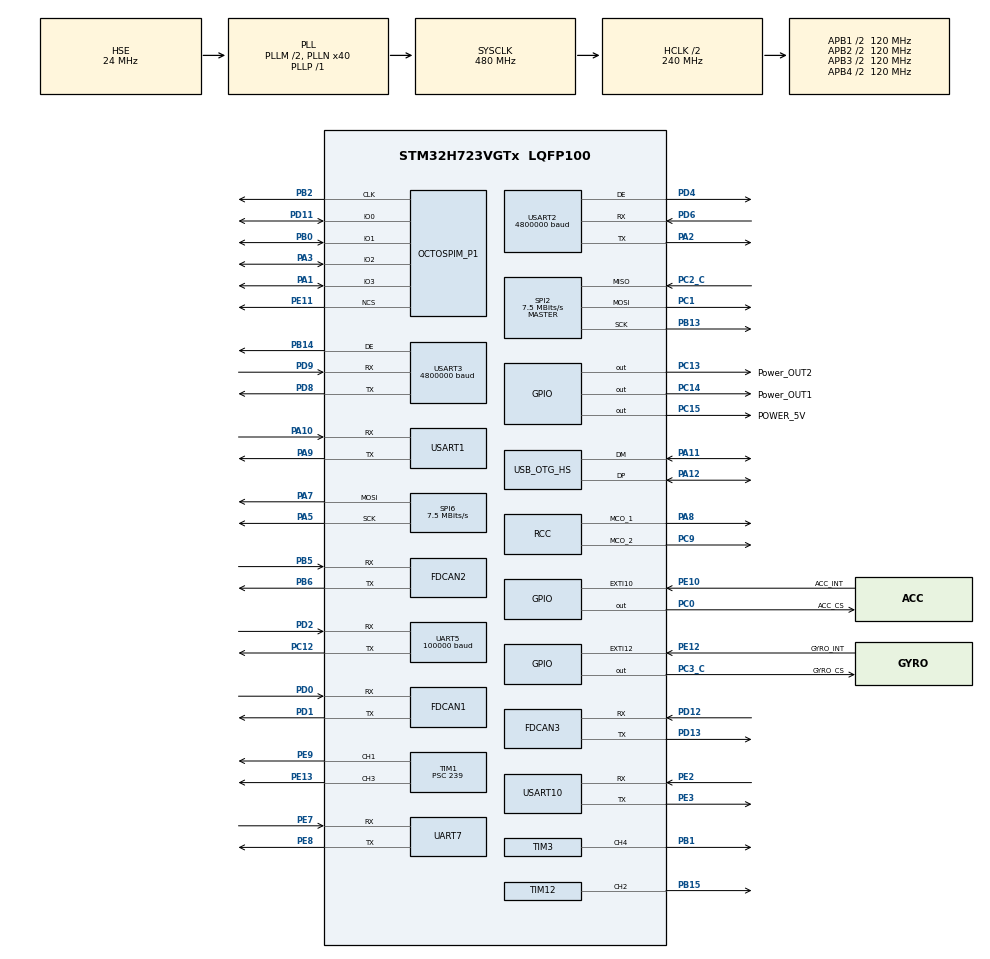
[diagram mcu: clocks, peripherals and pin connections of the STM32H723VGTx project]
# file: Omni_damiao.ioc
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CORTEX_M7.AccessPermission-Cortex_Memory_Protection_Unit_Region0_Settings=MPU_REGION_PRIV_RO
CORTEX_M7.AccessPermission-Cortex_Memory_Protection_Unit_Region1_Settings=MPU_REGION_FULL_ACCESS
CORTEX_M7.BaseAddress-Cortex_Memory_Protection_Unit_Region0_Settings=0x08000000
CORTEX_M7.BaseAddress-Cortex_Memory_Protection_Unit_Region1_Settings=0x20000000
CORTEX_M7.Enable-Cortex_Memory_Protection_Unit_Region0_Settings=MPU_REGION_ENABLE
CORTEX_M7.Enable-Cortex_Memory_Protection_Unit_Region1_Settings=MPU_REGION_ENABLE
CORTEX_M7.IsCacheable-Cortex_Memory_Protection_Unit_Region0_Settings=MPU_ACCESS_CACHEABLE
CORTEX_M7.MPU_Control=MPU_PRIVILEGED_DEFAULT
CORTEX_M7.Number-Cortex_Memory_Protection_Unit_Region1_Settings=MPU_REGION_NUMBER1
CORTEX_M7.Number-Cortex_Memory_Protection_Unit_Region2_Settings=MPU_REGION_NUMBER2
CORTEX_M7.Number-Cortex_Memory_Protection_Unit_Region3_Settings=MPU_REGION_NUMBER3
CORTEX_M7.Number-Cortex_Memory_Protection_Unit_Region4_Settings=MPU_REGION_NUMBER4
CORTEX_M7.Size-Cortex_Memory_Protection_Unit_Region0_Settings=MPU_REGION_SIZE_1MB
CORTEX_M7.Size-Cortex_Memory_Protection_Unit_Region1_Settings=MPU_REGION_SIZE_128MB
CORTEX_M7.SubRegionDisable-Cortex_Memory_Protection_Unit_Region1_Settings=0xEE
CORTEX_M7.TypeExtField-Cortex_Memory_Protection_Unit_Region0_Settings=MPU_TEX_LEVEL1
CORTEX_M7.TypeExtField-Cortex_Memory_Protection_Unit_Region1_Settings=MPU_TEX_LEVEL1
Dma.Request0=SPI2_RX
Dma.Request1=SPI2_TX
Dma.Request10=USART2_TX
Dma.Request11=USART1_RX
Dma.Request12=USART1_TX
Dma.Request2=UART5_RX
Dma.Request3=UART7_RX
Dma.Request4=UART7_TX
Dma.Request5=USART10_RX
Dma.Request6=USART10_TX
Dma.Request7=USART3_RX
Dma.Request8=USART3_TX
Dma.Request9=USART2_RX
Dma.SPI2_RX.0.Direction=DMA_PERIPH_TO_MEMORY
Dma.SPI2_RX.0.EventEnable=DISABLE
Dma.SPI2_RX.0.FIFOMode=DMA_FIFOMODE_DISABLE
Dma.SPI2_RX.0.Instance=DMA1_Stream0
Dma.SPI2_RX.0.MemDataAlignment=DMA_MDATAALIGN_BYTE
Dma.SPI2_RX.0.MemInc=DMA_MINC_ENABLE
Dma.SPI2_RX.0.Mode=DMA_NORMAL
Dma.SPI2_RX.0.PeriphDataAlignment=DMA_PDATAALIGN_BYTE
Dma.SPI2_RX.0.PeriphInc=DMA_PINC_DISABLE
Dma.SPI2_RX.0.Polarity=HAL_DMAMUX_REQ_GEN_RISING
Dma.SPI2_RX.0.Priority=DMA_PRIORITY_VERY_HIGH
Dma.SPI2_RX.0.RequestNumber=1
Dma.SPI2_RX.0.SignalID=NONE
Dma.SPI2_RX.0.SyncEnable=DISABLE
Dma.SPI2_RX.0.SyncPolarity=HAL_DMAMUX_SYNC_NO_EVENT
Dma.SPI2_RX.0.SyncRequestNumber=1
Dma.SPI2_RX.0.SyncSignalID=NONE
Dma.SPI2_TX.1.Direction=DMA_MEMORY_TO_PERIPH
Dma.SPI2_TX.1.EventEnable=DISABLE
Dma.SPI2_TX.1.FIFOMode=DMA_FIFOMODE_DISABLE
Dma.SPI2_TX.1.Instance=DMA1_Stream1
Dma.SPI2_TX.1.MemDataAlignment=DMA_MDATAALIGN_BYTE
Dma.SPI2_TX.1.MemInc=DMA_MINC_ENABLE
Dma.SPI2_TX.1.Mode=DMA_NORMAL
Dma.SPI2_TX.1.PeriphDataAlignment=DMA_PDATAALIGN_BYTE
Dma.SPI2_TX.1.PeriphInc=DMA_PINC_DISABLE
Dma.SPI2_TX.1.Polarity=HAL_DMAMUX_REQ_GEN_RISING
Dma.SPI2_TX.1.Priority=DMA_PRIORITY_VERY_HIGH
Dma.SPI2_TX.1.RequestNumber=1
Dma.SPI2_TX.1.SignalID=NONE
Dma.SPI2_TX.1.SyncEnable=DISABLE
Dma.SPI2_TX.1.SyncPolarity=HAL_DMAMUX_SYNC_NO_EVENT
Dma.SPI2_TX.1.SyncRequestNumber=1
Dma.SPI2_TX.1.SyncSignalID=NONE
Dma.UART5_RX.2.Direction=DMA_PERIPH_TO_MEMORY
Dma.UART5_RX.2.EventEnable=DISABLE
Dma.UART5_RX.2.FIFOMode=DMA_FIFOMODE_DISABLE
Dma.UART5_RX.2.Instance=DMA1_Stream2
Dma.UART5_RX.2.MemDataAlignment=DMA_MDATAALIGN_BYTE
Dma.UART5_RX.2.MemInc=DMA_MINC_ENABLE
Dma.UART5_RX.2.Mode=DMA_NORMAL
Dma.UART5_RX.2.PeriphDataAlignment=DMA_PDATAALIGN_BYTE
Dma.UART5_RX.2.PeriphInc=DMA_PINC_DISABLE
Dma.UART5_RX.2.Polarity=HAL_DMAMUX_REQ_GEN_RISING
Dma.UART5_RX.2.Priority=DMA_PRIORITY_VERY_HIGH
Dma.UART5_RX.2.RequestNumber=1
Dma.UART5_RX.2.SignalID=NONE
Dma.UART5_RX.2.SyncEnable=DISABLE
Dma.UART5_RX.2.SyncPolarity=HAL_DMAMUX_SYNC_NO_EVENT
Dma.UART5_RX.2.SyncRequestNumber=1
Dma.UART5_RX.2.SyncSignalID=NONE
Dma.UART7_RX.3.Direction=DMA_PERIPH_TO_MEMORY
Dma.UART7_RX.3.EventEnable=DISABLE
Dma.UART7_RX.3.FIFOMode=DMA_FIFOMODE_DISABLE
Dma.UART7_RX.3.Instance=DMA1_Stream3
Dma.UART7_RX.3.MemDataAlignment=DMA_MDATAALIGN_BYTE
Dma.UART7_RX.3.MemInc=DMA_MINC_ENABLE
Dma.UART7_RX.3.Mode=DMA_NORMAL
Dma.UART7_RX.3.PeriphDataAlignment=DMA_PDATAALIGN_BYTE
Dma.UART7_RX.3.PeriphInc=DMA_PINC_DISABLE
Dma.UART7_RX.3.Polarity=HAL_DMAMUX_REQ_GEN_RISING
Dma.UART7_RX.3.Priority=DMA_PRIORITY_VERY_HIGH
Dma.UART7_RX.3.RequestNumber=1
Dma.UART7_RX.3.SignalID=NONE
Dma.UART7_RX.3.SyncEnable=DISABLE
Dma.UART7_RX.3.SyncPolarity=HAL_DMAMUX_SYNC_NO_EVENT
Dma.UART7_RX.3.SyncRequestNumber=1
Dma.UART7_RX.3.SyncSignalID=NONE
Dma.UART7_TX.4.Direction=DMA_MEMORY_TO_PERIPH
Dma.UART7_TX.4.EventEnable=DISABLE
Dma.UART7_TX.4.FIFOMode=DMA_FIFOMODE_DISABLE
Dma.UART7_TX.4.Instance=DMA1_Stream4
Dma.UART7_TX.4.MemDataAlignment=DMA_MDATAALIGN_BYTE
Dma.UART7_TX.4.MemInc=DMA_MINC_ENABLE
Dma.UART7_TX.4.Mode=DMA_NORMAL
Dma.UART7_TX.4.PeriphDataAlignment=DMA_PDATAALIGN_BYTE
Dma.UART7_TX.4.PeriphInc=DMA_PINC_DISABLE
Dma.UART7_TX.4.Polarity=HAL_DMAMUX_REQ_GEN_RISING
Dma.UART7_TX.4.Priority=DMA_PRIORITY_VERY_HIGH
Dma.UART7_TX.4.RequestNumber=1
Dma.UART7_TX.4.SignalID=NONE
Dma.UART7_TX.4.SyncEnable=DISABLE
Dma.UART7_TX.4.SyncPolarity=HAL_DMAMUX_SYNC_NO_EVENT
Dma.UART7_TX.4.SyncRequestNumber=1
Dma.UART7_TX.4.SyncSignalID=NONE
Dma.USART10_RX.5.Direction=DMA_PERIPH_TO_MEMORY
Dma.USART10_RX.5.EventEnable=DISABLE
Dma.USART10_RX.5.FIFOMode=DMA_FIFOMODE_DISABLE
Dma.USART10_RX.5.Instance=DMA1_Stream5
Dma.USART10_RX.5.MemDataAlignment=DMA_MDATAALIGN_BYTE
Dma.USART10_RX.5.MemInc=DMA_MINC_ENABLE
Dma.USART10_RX.5.Mode=DMA_NORMAL
Dma.USART10_RX.5.PeriphDataAlignment=DMA_PDATAALIGN_BYTE
Dma.USART10_RX.5.PeriphInc=DMA_PINC_DISABLE
Dma.USART10_RX.5.Polarity=HAL_DMAMUX_REQ_GEN_RISING
Dma.USART10_RX.5.Priority=DMA_PRIORITY_VERY_HIGH
Dma.USART10_RX.5.RequestNumber=1
Dma.USART10_RX.5.SignalID=NONE
Dma.USART10_RX.5.SyncEnable=DISABLE
Dma.USART10_RX.5.SyncPolarity=HAL_DMAMUX_SYNC_NO_EVENT
Dma.USART10_RX.5.SyncRequestNumber=1
Dma.USART10_RX.5.SyncSignalID=NONE
Dma.USART10_TX.6.Direction=DMA_MEMORY_TO_PERIPH
Dma.USART10_TX.6.EventEnable=DISABLE
Dma.USART10_TX.6.FIFOMode=DMA_FIFOMODE_DISABLE
Dma.USART10_TX.6.Instance=DMA1_Stream6
Dma.USART10_TX.6.MemDataAlignment=DMA_MDATAALIGN_BYTE
Dma.USART10_TX.6.MemInc=DMA_MINC_ENABLE
Dma.USART10_TX.6.Mode=DMA_NORMAL
Dma.USART10_TX.6.PeriphDataAlignment=DMA_PDATAALIGN_BYTE
Dma.USART10_TX.6.PeriphInc=DMA_PINC_DISABLE
Dma.USART10_TX.6.Polarity=HAL_DMAMUX_REQ_GEN_RISING
Dma.USART10_TX.6.Priority=DMA_PRIORITY_VERY_HIGH
Dma.USART10_TX.6.RequestNumber=1
Dma.USART10_TX.6.SignalID=NONE
Dma.USART10_TX.6.SyncEnable=DISABLE
Dma.USART10_TX.6.SyncPolarity=HAL_DMAMUX_SYNC_NO_EVENT
Dma.USART10_TX.6.SyncRequestNumber=1
Dma.USART10_TX.6.SyncSignalID=NONE
Dma.USART1_RX.11.Direction=DMA_PERIPH_TO_MEMORY
Dma.USART1_RX.11.EventEnable=DISABLE
Dma.USART1_RX.11.FIFOMode=DMA_FIFOMODE_DISABLE
Dma.USART1_RX.11.Instance=DMA2_Stream3
Dma.USART1_RX.11.MemDataAlignment=DMA_MDATAALIGN_BYTE
Dma.USART1_RX.11.MemInc=DMA_MINC_ENABLE
Dma.USART1_RX.11.Mode=DMA_NORMAL
Dma.USART1_RX.11.PeriphDataAlignment=DMA_PDATAALIGN_BYTE
Dma.USART1_RX.11.PeriphInc=DMA_PINC_DISABLE
Dma.USART1_RX.11.Polarity=HAL_DMAMUX_REQ_GEN_RISING
Dma.USART1_RX.11.Priority=DMA_PRIORITY_LOW
Dma.USART1_RX.11.RequestNumber=1
Dma.USART1_RX.11.SignalID=NONE
Dma.USART1_RX.11.SyncEnable=DISABLE
Dma.USART1_RX.11.SyncPolarity=HAL_DMAMUX_SYNC_NO_EVENT
Dma.USART1_RX.11.SyncRequestNumber=1
Dma.USART1_RX.11.SyncSignalID=NONE
Dma.USART1_TX.12.Direction=DMA_MEMORY_TO_PERIPH
Dma.USART1_TX.12.EventEnable=DISABLE
Dma.USART1_TX.12.FIFOMode=DMA_FIFOMODE_DISABLE
Dma.USART1_TX.12.Instance=DMA2_Stream4
Dma.USART1_TX.12.MemDataAlignment=DMA_MDATAALIGN_BYTE
Dma.USART1_TX.12.MemInc=DMA_MINC_ENABLE
Dma.USART1_TX.12.Mode=DMA_NORMAL
Dma.USART1_TX.12.PeriphDataAlignment=DMA_PDATAALIGN_BYTE
Dma.USART1_TX.12.PeriphInc=DMA_PINC_DISABLE
Dma.USART1_TX.12.Polarity=HAL_DMAMUX_REQ_GEN_RISING
Dma.USART1_TX.12.Priority=DMA_PRIORITY_LOW
Dma.USART1_TX.12.RequestNumber=1
Dma.USART1_TX.12.SignalID=NONE
Dma.USART1_TX.12.SyncEnable=DISABLE
Dma.USART1_TX.12.SyncPolarity=HAL_DMAMUX_SYNC_NO_EVENT
Dma.USART1_TX.12.SyncRequestNumber=1
Dma.USART1_TX.12.SyncSignalID=NONE
Dma.USART2_RX.9.Direction=DMA_PERIPH_TO_MEMORY
Dma.USART2_RX.9.EventEnable=DISABLE
Dma.USART2_RX.9.FIFOMode=DMA_FIFOMODE_DISABLE
Dma.USART2_RX.9.Instance=DMA2_Stream1
Dma.USART2_RX.9.MemDataAlignment=DMA_MDATAALIGN_BYTE
Dma.USART2_RX.9.MemInc=DMA_MINC_ENABLE
Dma.USART2_RX.9.Mode=DMA_NORMAL
Dma.USART2_RX.9.PeriphDataAlignment=DMA_PDATAALIGN_BYTE
Dma.USART2_RX.9.PeriphInc=DMA_PINC_DISABLE
Dma.USART2_RX.9.Polarity=HAL_DMAMUX_REQ_GEN_RISING
Dma.USART2_RX.9.Priority=DMA_PRIORITY_VERY_HIGH
Dma.USART2_RX.9.RequestNumber=1
Dma.USART2_RX.9.SignalID=NONE
Dma.USART2_RX.9.SyncEnable=DISABLE
Dma.USART2_RX.9.SyncPolarity=HAL_DMAMUX_SYNC_NO_EVENT
Dma.USART2_RX.9.SyncRequestNumber=1
Dma.USART2_RX.9.SyncSignalID=NONE
Dma.USART2_TX.10.Direction=DMA_MEMORY_TO_PERIPH
Dma.USART2_TX.10.EventEnable=DISABLE
Dma.USART2_TX.10.FIFOMode=DMA_FIFOMODE_DISABLE
Dma.USART2_TX.10.Instance=DMA2_Stream2
Dma.USART2_TX.10.MemDataAlignment=DMA_MDATAALIGN_BYTE
Dma.USART2_TX.10.MemInc=DMA_MINC_ENABLE
Dma.USART2_TX.10.Mode=DMA_NORMAL
Dma.USART2_TX.10.PeriphDataAlignment=DMA_PDATAALIGN_BYTE
Dma.USART2_TX.10.PeriphInc=DMA_PINC_DISABLE
Dma.USART2_TX.10.Polarity=HAL_DMAMUX_REQ_GEN_RISING
Dma.USART2_TX.10.Priority=DMA_PRIORITY_VERY_HIGH
Dma.USART2_TX.10.RequestNumber=1
Dma.USART2_TX.10.SignalID=NONE
Dma.USART2_TX.10.SyncEnable=DISABLE
Dma.USART2_TX.10.SyncPolarity=HAL_DMAMUX_SYNC_NO_EVENT
Dma.USART2_TX.10.SyncRequestNumber=1
Dma.USART2_TX.10.SyncSignalID=NONE
Dma.USART3_RX.7.Direction=DMA_PERIPH_TO_MEMORY
Dma.USART3_RX.7.EventEnable=DISABLE
Dma.USART3_RX.7.FIFOMode=DMA_FIFOMODE_DISABLE
Dma.USART3_RX.7.Instance=DMA1_Stream7
Dma.USART3_RX.7.MemDataAlignment=DMA_MDATAALIGN_BYTE
Dma.USART3_RX.7.MemInc=DMA_MINC_ENABLE
Dma.USART3_RX.7.Mode=DMA_NORMAL
Dma.USART3_RX.7.PeriphDataAlignment=DMA_PDATAALIGN_BYTE
Dma.USART3_RX.7.PeriphInc=DMA_PINC_DISABLE
Dma.USART3_RX.7.Polarity=HAL_DMAMUX_REQ_GEN_RISING
Dma.USART3_RX.7.Priority=DMA_PRIORITY_VERY_HIGH
Dma.USART3_RX.7.RequestNumber=1
Dma.USART3_RX.7.SignalID=NONE
Dma.USART3_RX.7.SyncEnable=DISABLE
Dma.USART3_RX.7.SyncPolarity=HAL_DMAMUX_SYNC_NO_EVENT
Dma.USART3_RX.7.SyncRequestNumber=1
Dma.USART3_RX.7.SyncSignalID=NONE
Dma.USART3_TX.8.Direction=DMA_MEMORY_TO_PERIPH
Dma.USART3_TX.8.EventEnable=DISABLE
Dma.USART3_TX.8.FIFOMode=DMA_FIFOMODE_DISABLE
Dma.USART3_TX.8.Instance=DMA2_Stream0
Dma.USART3_TX.8.MemDataAlignment=DMA_MDATAALIGN_BYTE
Dma.USART3_TX.8.MemInc=DMA_MINC_ENABLE
Dma.USART3_TX.8.Mode=DMA_NORMAL
Dma.USART3_TX.8.PeriphDataAlignment=DMA_PDATAALIGN_BYTE
Dma.USART3_TX.8.PeriphInc=DMA_PINC_DISABLE
Dma.USART3_TX.8.Polarity=HAL_DMAMUX_REQ_GEN_RISING
Dma.USART3_TX.8.Priority=DMA_PRIORITY_VERY_HIGH
Dma.USART3_TX.8.RequestNumber=1
Dma.USART3_TX.8.SignalID=NONE
Dma.USART3_TX.8.SyncEnable=DISABLE
Dma.USART3_TX.8.SyncPolarity=HAL_DMAMUX_SYNC_NO_EVENT
Dma.USART3_TX.8.SyncRequestNumber=1
Dma.USART3_TX.8.SyncSignalID=NONE
FDCAN1.AutoRetransmission=DISABLE
FDCAN1.CalculateBaudRateNominal=1000000
FDCAN1.CalculateTimeBitNominal=1000
FDCAN1.CalculateTimeQuantumNominal=25.0
FDCAN1.DataPrescaler=3
FDCAN1.DataSyncJumpWidth=10
FDCAN1.DataTimeSeg1=29
FDCAN1.DataTimeSeg2=10
FDCAN1.NominalPrescaler=3
FDCAN1.NominalSyncJumpWidth=10
FDCAN1.NominalTimeSeg1=29
FDCAN1.NominalTimeSeg2=10
FDCAN1.RxFifo0ElmtsNbr=4
FDCAN1.StdFiltersNbr=1
FDCAN1.TxFifoQueueElmtsNbr=32
FDCAN2.AutoRetransmission=DISABLE
FDCAN2.CalculateBaudRateNominal=1000000
FDCAN2.CalculateTimeBitNominal=1000
FDCAN2.CalculateTimeQuantumNominal=25.0
FDCAN2.DataPrescaler=3
FDCAN2.DataSyncJumpWidth=10
FDCAN2.DataTimeSeg1=29
FDCAN2.DataTimeSeg2=10
FDCAN2.MessageRAMOffset=0x406
FDCAN2.NominalPrescaler=3
FDCAN2.NominalSyncJumpWidth=10
FDCAN2.NominalTimeSeg1=29
FDCAN2.NominalTimeSeg2=10
FDCAN2.RxFifo0ElmtsNbr=4
FDCAN2.StdFiltersNbr=1
FDCAN2.TxFifoQueueElmtsNbr=32
FDCAN3.AutoRetransmission=DISABLE
FDCAN3.CalculateBaudRateNominal=1000000
FDCAN3.CalculateTimeBitNominal=1000
FDCAN3.CalculateTimeQuantumNominal=25.0
FDCAN3.DataPrescaler=3
FDCAN3.DataSyncJumpWidth=10
FDCAN3.DataTimeSeg1=29
FDCAN3.DataTimeSeg2=10
FDCAN3.MessageRAMOffset=0x812
FDCAN3.NominalPrescaler=3
FDCAN3.NominalSyncJumpWidth=10
FDCAN3.NominalTimeSeg1=29
FDCAN3.NominalTimeSeg2=10
FDCAN3.RxFifo0ElmtsNbr=4
FDCAN3.StdFiltersNbr=1
FDCAN3.TxFifoQueueElmtsNbr=32
FREERTOS.Tasks01=Remote_control,24,512,Remote_control_Task,Default,NULL,Dynamic,NULL,NULL;Gimbal,8,512,Gimbal_Task,Default,NULL,Dynamic,NULL,NULL;Chassis,8,512,Chassis_Task,Default,NULL,Dynamic,NULL,NULL;Motor_control,8,256,Motor_control_Task,Default,NULL,Dynamic,NULL,NULL;Shoot,8,256,Shoot_Task,Default,NULL,Dynamic,NULL,NULL;Referee,8,512,Referee_Task,Default,NULL,Dynamic,NULL,NULL;Log_and_debug,8,256,Log_and_debug_Task,Default,NULL,Dynamic,NULL,NULL
FREERTOS.configENABLE_FPU=1
FREERTOS.configUSE_IDLE_HOOK=1
Mcu.Family=STM32H7
Mcu.Name=STM32H723VGTx
Mcu.Package=LQFP100
NVIC.DMA1_Stream0_IRQn=true\:5\:0\:false\:false\:true\:true\:false\:true\:true
NVIC.DMA1_Stream1_IRQn=true\:5\:0\:false\:false\:true\:true\:false\:true\:true
NVIC.DMA1_Stream2_IRQn=true\:5\:0\:false\:false\:true\:true\:false\:true\:true
NVIC.DMA1_Stream3_IRQn=true\:5\:0\:true\:false\:true\:true\:false\:true\:true
NVIC.DMA1_Stream4_IRQn=true\:5\:0\:true\:false\:true\:true\:false\:true\:true
NVIC.DMA1_Stream5_IRQn=true\:5\:0\:false\:false\:true\:true\:false\:true\:true
NVIC.DMA1_Stream6_IRQn=true\:5\:0\:false\:false\:true\:true\:false\:true\:true
NVIC.DMA1_Stream7_IRQn=true\:5\:0\:false\:false\:true\:true\:false\:true\:true
NVIC.DMA2_Stream0_IRQn=true\:5\:0\:false\:false\:true\:true\:false\:true\:true
NVIC.DMA2_Stream1_IRQn=true\:5\:0\:false\:false\:true\:true\:false\:true\:true
NVIC.DMA2_Stream2_IRQn=true\:5\:0\:false\:false\:true\:true\:false\:true\:true
NVIC.DMA2_Stream3_IRQn=true\:5\:0\:false\:false\:true\:true\:false\:true\:true
NVIC.DMA2_Stream4_IRQn=true\:5\:0\:false\:false\:true\:true\:false\:true\:true
NVIC.FDCAN1_IT0_IRQn=true\:5\:0\:false\:false\:true\:true\:true\:true\:true
NVIC.FDCAN1_IT1_IRQn=true\:5\:0\:false\:false\:true\:true\:true\:true\:true
NVIC.FDCAN2_IT0_IRQn=true\:5\:0\:false\:false\:true\:true\:true\:true\:true
NVIC.FDCAN2_IT1_IRQn=true\:5\:0\:false\:false\:true\:true\:true\:true\:true
NVIC.FDCAN3_IT0_IRQn=true\:5\:0\:false\:false\:true\:true\:true\:true\:true
NVIC.FDCAN3_IT1_IRQn=true\:5\:0\:false\:false\:true\:true\:true\:true\:true
NVIC.OTG_HS_IRQn=true\:5\:0\:false\:false\:true\:true\:true\:true\:true
NVIC.PriorityGroup=NVIC_PRIORITYGROUP_4
NVIC.SPI2_IRQn=true\:5\:0\:false\:false\:true\:true\:true\:true\:true
NVIC.TIM23_IRQn=true\:15\:0\:true\:false\:true\:false\:false\:true\:true
NVIC.TIM8_BRK_TIM12_IRQn=true\:5\:0\:false\:false\:true\:true\:true\:true\:true
NVIC.TIM8_TRG_COM_TIM14_IRQn=true\:5\:0\:false\:false\:true\:true\:true\:true\:true
NVIC.TIM8_UP_TIM13_IRQn=true\:5\:0\:true\:false\:true\:true\:true\:true\:true
NVIC.TimeBase=TIM23_IRQn
NVIC.TimeBaseIP=TIM23
NVIC.UART5_IRQn=true\:5\:0\:false\:false\:true\:true\:true\:true\:true
NVIC.UART7_IRQn=true\:5\:0\:true\:false\:true\:true\:true\:true\:true
NVIC.USART10_IRQn=true\:5\:0\:false\:false\:true\:true\:true\:true\:true
NVIC.USART1_IRQn=true\:5\:0\:false\:false\:true\:true\:true\:true\:true
NVIC.USART2_IRQn=true\:5\:0\:false\:false\:true\:true\:true\:true\:true
NVIC.USART3_IRQn=true\:5\:0\:false\:false\:true\:true\:true\:true\:true
OCTOSPI2.ClockMode=HAL_OSPI_CLOCK_MODE_3
OCTOSPI2.ClockPrescaler=3
OCTOSPI2.DeviceSize=23
OCTOSPI2.DeviceType=SPI_DEVICE_FLASH
OCTOSPI2.FifoThreshold=8
OCTOSPI2.SampleShifting=HAL_OSPI_SAMPLE_SHIFTING_HALFCYCLE
PA1.Mode=OCTOSPI2_IOL_Port1L
PA1.Signal=OCTOSPIM_P1_IO3
PA10.Mode=Asynchronous
PA10.Signal=USART1_RX
PA11.Mode=Device_Only_FS
PA11.Signal=USB_OTG_HS_DM
PA12.Mode=Device_Only_FS
PA12.Signal=USB_OTG_HS_DP
PA13(JTMS/SWDIO).Mode=Serial_Wire
PA13(JTMS/SWDIO).Signal=DEBUG_JTMS-SWDIO
PA14(JTCK/SWCLK).Mode=Serial_Wire
PA14(JTCK/SWCLK).Signal=DEBUG_JTCK-SWCLK
PA2.Mode=Asynchronous
PA2.Signal=USART2_TX
PA3.Mode=OCTOSPI2_IOL_Port1L
PA3.Signal=OCTOSPIM_P1_IO2
PA5.GPIO_Speed=GPIO_SPEED_FREQ_VERY_HIGH
PA5.Mode=TX_Only_Simplex_Unidirect_Master
PA5.Signal=SPI6_SCK
PA7.Mode=TX_Only_Simplex_Unidirect_Master
PA7.Signal=SPI6_MOSI
PA8.Mode=Clock-out-1
PA8.Signal=RCC_MCO_1
PA9.Mode=Asynchronous
PA9.Signal=USART1_TX
PB0.Mode=OCTOSPI2_IOL_Port1L
PB0.Signal=OCTOSPIM_P1_IO1
PB1.Signal=S_TIM3_CH4
PB13.Mode=Full_Duplex_Master
PB13.Signal=SPI2_SCK
PB14.Mode=Hardware Flow Control (RS485)
PB14.Signal=USART3_DE
PB15.Signal=S_TIM12_CH2
PB2.Mode=O2_P1_CLK
PB2.Signal=OCTOSPIM_P1_CLK
PB5.Mode=FDCAN_Activate
PB5.Signal=FDCAN2_RX
PB6.Mode=FDCAN_Activate
PB6.Signal=FDCAN2_TX
PC0.GPIO_Label=ACC_CS
PC0.GPIO_Speed=GPIO_SPEED_FREQ_VERY_HIGH
PC0.PinState=GPIO_PIN_SET
PC0.Signal=GPIO_Output
PC1.Mode=Full_Duplex_Master
PC1.Signal=SPI2_MOSI
PC12.Mode=Asynchronous
PC12.Signal=UART5_TX
PC13.GPIO_Label=Power_OUT2
PC13.PinState=GPIO_PIN_SET
PC13.Signal=GPIO_Output
PC14-OSC32_IN.GPIO_Label=Power_OUT1
PC14-OSC32_IN.PinState=GPIO_PIN_SET
PC14-OSC32_IN.Signal=GPIO_Output
PC15-OSC32_OUT.GPIO_Label=POWER_5V
PC15-OSC32_OUT.PinState=GPIO_PIN_SET
PC15-OSC32_OUT.Signal=GPIO_Output
PC2_C.Mode=Full_Duplex_Master
PC2_C.Signal=SPI2_MISO
PC3_C.GPIO_Label=GYRO_CS
PC3_C.GPIO_Speed=GPIO_SPEED_FREQ_VERY_HIGH
PC3_C.PinState=GPIO_PIN_SET
PC3_C.Signal=GPIO_Output
PC9.Mode=Clock-out-2
PC9.Signal=RCC_MCO_2
PD0.Mode=FDCAN_Activate
PD0.Signal=FDCAN1_RX
PD1.Mode=FDCAN_Activate
PD1.Signal=FDCAN1_TX
PD11.Mode=OCTOSPI2_IOL_Port1L
PD11.Signal=OCTOSPIM_P1_IO0
PD12.Mode=FDCAN_Activate
PD12.Signal=FDCAN3_RX
PD13.Mode=FDCAN_Activate
PD13.Signal=FDCAN3_TX
PD2.Mode=Asynchronous
PD2.Signal=UART5_RX
PD4.Mode=Hardware Flow Control (RS485)
PD4.Signal=USART2_DE
PD6.Mode=Asynchronous
PD6.Signal=USART2_RX
PD8.Mode=Asynchronous
PD8.Signal=USART3_TX
PD9.Mode=Asynchronous
PD9.Signal=USART3_RX
PE10.GPIO_Label=ACC_INT
PE10.Signal=GPXTI10
PE11.Mode=OCTOSPI2_Port1_NCS
PE11.Signal=OCTOSPIM_P1_NCS
PE12.GPIO_Label=GYRO_INT
PE12.Signal=GPXTI12
PE13.Signal=S_TIM1_CH3
PE2.GPIO_Speed=GPIO_SPEED_FREQ_VERY_HIGH
PE2.Mode=Asynchronous
PE2.Signal=USART10_RX
PE3.GPIO_Speed=GPIO_SPEED_FREQ_VERY_HIGH
PE3.Mode=Asynchronous
PE3.Signal=USART10_TX
PE7.GPIO_Speed=GPIO_SPEED_FREQ_VERY_HIGH
PE7.Mode=Asynchronous
PE7.Signal=UART7_RX
PE8.GPIO_Speed=GPIO_SPEED_FREQ_VERY_HIGH
PE8.Mode=Asynchronous
PE8.Signal=UART7_TX
PE9.Signal=S_TIM1_CH1
PH0-OSC_IN.Mode=HSE-External-Oscillator
PH0-OSC_IN.Signal=RCC_OSC_IN
PH1-OSC_OUT.Mode=HSE-External-Oscillator
PH1-OSC_OUT.Signal=RCC_OSC_OUT
ProjectManager.HeapSize=0x200
ProjectManager.StackSize=0x400
ProjectManager.TargetToolchain=Makefile
RCC.ADCFreq_Value=48375000
RCC.APB1Freq_Value=120000000
RCC.APB2Freq_Value=120000000
RCC.APB3Freq_Value=120000000
RCC.APB4Freq_Value=120000000
RCC.CortexFreq_Value=480000000
RCC.D1PPRE=RCC_APB3_DIV2
RCC.D2PPRE1=RCC_APB1_DIV2
RCC.D2PPRE2=RCC_APB2_DIV2
RCC.D3PPRE=RCC_APB4_DIV2
RCC.DIVM1=2
RCC.DIVN1=40
RCC.DIVP1=1
RCC.DIVQ1=4
RCC.HCLKFreq_Value=240000000
RCC.HPRE=RCC_HCLK_DIV2
RCC.HSE_VALUE=24000000
RCC.PLLFRACN=0
RCC.PLLSourceVirtual=RCC_PLLSOURCE_HSE
RCC.SYSCLKFreq_VALUE=480000000
RCC.SYSCLKSource=RCC_SYSCLKSOURCE_PLLCLK
RCC.USBCLockSelection=RCC_USBCLKSOURCE_HSI48
RCC.USBFreq_Value=48000000
SH.S_TIM12_CH2.0=TIM12_CH2,PWM Generation2 CH2
SH.S_TIM1_CH1.0=TIM1_CH1,PWM Generation1 CH1
SH.S_TIM1_CH3.0=TIM1_CH3,PWM Generation3 CH3
SH.S_TIM3_CH4.0=TIM3_CH4,PWM Generation4 CH4
SPI2.BaudRatePrescaler=SPI_BAUDRATEPRESCALER_16
SPI2.CLKPhase=SPI_PHASE_2EDGE
SPI2.CLKPolarity=SPI_POLARITY_HIGH
SPI2.CalculateBaudRate=7.5 MBits/s
SPI2.DataSize=SPI_DATASIZE_8BIT
SPI2.Direction=SPI_DIRECTION_2LINES
SPI2.Mode=SPI_MODE_MASTER
SPI2.VirtualType=VM_MASTER
SPI6.BaudRatePrescaler=SPI_BAUDRATEPRESCALER_16
SPI6.CLKPhase=SPI_PHASE_2EDGE
SPI6.CLKPolarity=SPI_POLARITY_HIGH
SPI6.CalculateBaudRate=7.5 MBits/s
SPI6.DataSize=SPI_DATASIZE_8BIT
SPI6.Direction=SPI_DIRECTION_2LINES_TXONLY
SPI6.Mode=SPI_MODE_MASTER
SPI6.VirtualType=VM_MASTER
TIM1.Channel-PWM\ Generation1\ CH1=TIM_CHANNEL_1
TIM1.Channel-PWM\ Generation3\ CH3=TIM_CHANNEL_3
TIM1.Period=1999
TIM1.Prescaler=239
TIM1.Pulse-PWM\ Generation1\ CH1=2000
TIM12.Channel-PWM\ Generation2\ CH2=TIM_CHANNEL_2
TIM12.Period=250-1
TIM12.Prescaler=240-1
TIM13.Period=100-1
TIM13.Prescaler=2400-1
TIM14.Period=500-1
TIM14.Prescaler=2400-1
TIM3.Channel-PWM\ Generation4\ CH4=TIM_CHANNEL_4
TIM3.Period=20000-1
TIM3.Prescaler=240-1
UART5.BaudRate=100000
UART5.Parity=PARITY_EVEN
UART5.StopBits=UART_STOPBITS_1
UART5.WordLength=WORDLENGTH_9B
USART1.VirtualMode-Asynchronous=VM_ASYNC
USART10.VirtualMode=VM_ASYNC
USART2.BaudRate=4800000
USART2.VirtualMode-Asynchronous=VM_ASYNC
USART2.VirtualMode-Hardware\ Flow\ Control\ (RS485)=VM_ASYNC
USART3.BaudRate=4800000
USART3.VirtualMode-Asynchronous=VM_ASYNC
USART3.VirtualMode-Hardware\ Flow\ Control\ (RS485)=VM_ASYNC
USB_DEVICE.CLASS_NAME_HS=CDC
USB_DEVICE.VirtualMode=Cdc
USB_DEVICE.VirtualModeHS=Cdc_HS
USB_OTG_HS.VirtualMode-Device_Only_FS=Device_Only_FS
VP_FREERTOS_VS_CMSIS_V2.Mode=CMSIS_V2
VP_IWDG1_VS_IWDG.Mode=IWDG_Activate
VP_MEMORYMAP_VS_MEMORYMAP.Mode=CurAppReg
VP_OCTOSPI2_VS_quad.Mode=quad_mode
VP_SYS_VS_tim23.Mode=TIM23
VP_TIM12_VS_ClockSourceINT.Mode=Internal
VP_TIM13_VS_ClockSourceINT.Mode=Enable_Timer
VP_TIM14_VS_ClockSourceINT.Mode=Enable_Timer
VP_USB_DEVICE_VS_USB_DEVICE_CDC_HS.Mode=CDC_HS
board=custom

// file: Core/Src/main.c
/* USER CODE BEGIN Header */
/**
 ******************************************************************************
 * @file           : main.c
 * @brief          : Main program body
 ******************************************************************************
 * @attention
 *
 * Copyright (c) 2024 STMicroelectronics.
 * All rights reserved.
 *
 * This software is licensed under terms that can be found in the LICENSE file
 * in the root directory of this software component.
 * If no LICENSE file comes with this software, it is provided AS-IS.
 *
 ******************************************************************************
 */
/* USER CODE END Header */
#include "main.h"
#include "cmsis_os.h"
#include "dma.h"
#include "fdcan.h"
#include "iwdg.h"
#include "memorymap.h"
#include "octospi.h"
#include "spi.h"
#include "tim.h"
#include "usart.h"
#include "usb_device.h"
#include "gpio.h"

/* USER CODE BEGIN Includes */
#include "UART_data_txrx.h"
#include "CAN_receive_send.h"

#include "motor.h"
#include "supercup.h"
#include "IMU_updata.h"
#include "LED.h"
#include "Power_switch.h"
#include "referee_system.h"

#include "music.h"
#include "Chassis.h"
#include "Gimbal.h"
#include "shoot.h"
#include "Auto_control.h"
#include "Global_status.h"
/* USER CODE END Includes */

void SystemClock_Config(void);
static void MPU_Config(void);
void MX_FREERTOS_Init(void);

/* USER CODE BEGIN 0 */
HAL_StatusTypeDef ITsta;
extern DMA_HandleTypeDef hdma_uart7_rx;
/* USER CODE END 0 */

int main(void)
{

  /* MPU Configuration-----------------------------------------------  MPU_Config();

  /* MCU Configuration--------------------------------------------------------*/

  /* Reset of all peripherals, Initializes the Flash interface and the Systick. */
  HAL_Init();

  /* Configure the system clock */
  SystemClock_Config();

  /* Initialize all configured peripherals */
  MX_GPIO_Init();
  MX_DMA_Init();
  MX_FDCAN1_Init();
  MX_FDCAN2_Init();
  MX_SPI2_Init();
  MX_TIM3_Init();
  MX_TIM13_Init();
  MX_TIM14_Init();
  MX_SPI6_Init();
  MX_UART5_Init();
  MX_UART7_Init();
  MX_USART10_UART_Init();
  MX_FDCAN3_Init();
  MX_OCTOSPI2_Init();
  MX_IWDG1_Init();
  MX_USART2_UART_Init();
  MX_USART3_UART_Init();
  MX_USART1_UART_Init();
  MX_TIM12_Init();
  MX_TIM1_Init();
  /* USER CODE BEGIN 2 */
  HAL_IWDG_Refresh(&hiwdg1);
  /*INIT*/
  uart_init();
  can_init();
  Refree_system_init();

  IMU_init();
  Music_init();
  Chassis_init();
  Gimbal_init();
  Shoot_init();
  HAL_IWDG_Refresh(&hiwdg1);
  PWM_control_init();
  GPIO_init();
  // OSPI_W25Qxx_Init(); // 锟斤拷始锟斤拷OSPI锟斤拷W25Q64
  // OSPI_W25Qxx_Test(); // Flash锟斤拷写锟斤拷锟斤拷

  /* USER CODE END 2 */

  /* Init scheduler */
  osKernelInitialize();

  /* Call init function for freertos objects (in cmsis_os2.c) */
  MX_FREERTOS_Init();

  /* Start scheduler */
  osKernelStart();

  /* We should never get here as control is now taken by the scheduler */

  /* Infinite loop */
  while (1)
  {

  }
}

void SystemClock_Config(void)
{
  RCC_OscInitTypeDef RCC_OscInitStruct = {0};
  RCC_ClkInitTypeDef RCC_ClkInitStruct = {0};

  /** Supply configuration update enable
  */
  HAL_PWREx_ConfigSupply(PWR_LDO_SUPPLY);

  /** Configure the main internal regulator output voltage
  */
  __HAL_PWR_VOLTAGESCALING_CONFIG(PWR_REGULATOR_VOLTAGE_SCALE0);

  while(!__HAL_PWR_GET_FLAG(PWR_FLAG_VOSRDY)) {}

  /** Initializes the RCC Oscillators according to the specified parameters
  * in the RCC_OscInitTypeDef structure.
  */
  RCC_OscInitStruct.OscillatorType = RCC_OSCILLATORTYPE_HSI48|RCC_OSCILLATORTYPE_HSI
                              |RCC_OSCILLATORTYPE_LSI|RCC_OSCILLATORTYPE_HSE;
  RCC_OscInitStruct.HSEState = RCC_HSE_ON;
  RCC_OscInitStruct.HSIState = RCC_HSI_DIV1;
  RCC_OscInitStruct.HSICalibrationValue = 64;
  RCC_OscInitStruct.LSIState = RCC_LSI_ON;
  RCC_OscInitStruct.HSI48State = RCC_HSI48_ON;
  RCC_OscInitStruct.PLL.PLLState = RCC_PLL_ON;
  RCC_OscInitStruct.PLL.PLLSource = RCC_PLLSOURCE_HSE;
  RCC_OscInitStruct.PLL.PLLM = 2;
  RCC_OscInitStruct.PLL.PLLN = 40;
  RCC_OscInitStruct.PLL.PLLP = 1;
  RCC_OscInitStruct.PLL.PLLQ = 4;
  RCC_OscInitStruct.PLL.PLLR = 2;
  RCC_OscInitStruct.PLL.PLLRGE = RCC_PLL1VCIRANGE_3;
  RCC_OscInitStruct.PLL.PLLVCOSEL = RCC_PLL1VCOWIDE;
  RCC_OscInitStruct.PLL.PLLFRACN = 0;
  if (HAL_RCC_OscConfig(&RCC_OscInitStruct) != HAL_OK)
  {
    Error_Handler();
  }

  /** Initializes the CPU, AHB and APB buses clocks
  */
  RCC_ClkInitStruct.ClockType = RCC_CLOCKTYPE_HCLK|RCC_CLOCKTYPE_SYSCLK
                              |RCC_CLOCKTYPE_PCLK1|RCC_CLOCKTYPE_PCLK2
                              |RCC_CLOCKTYPE_D3PCLK1|RCC_CLOCKTYPE_D1PCLK1;
  RCC_ClkInitStruct.SYSCLKSource = RCC_SYSCLKSOURCE_PLLCLK;
  RCC_ClkInitStruct.SYSCLKDivider = RCC_SYSCLK_DIV1;
  RCC_ClkInitStruct.AHBCLKDivider = RCC_HCLK_DIV2;
  RCC_ClkInitStruct.APB3CLKDivider = RCC_APB3_DIV2;
  RCC_ClkInitStruct.APB1CLKDivider = RCC_APB1_DIV2;
  RCC_ClkInitStruct.APB2CLKDivider = RCC_APB2_DIV2;
  RCC_ClkInitStruct.APB4CLKDivider = RCC_APB4_DIV2;

  if (HAL_RCC_ClockConfig(&RCC_ClkInitStruct, FLASH_LATENCY_3) != HAL_OK)
  {
    Error_Handler();
  }
  HAL_RCC_MCOConfig(RCC_MCO1, RCC_MCO1SOURCE_HSI, RCC_MCODIV_1);
  HAL_RCC_MCOConfig(RCC_MCO2, RCC_MCO2SOURCE_SYSCLK, RCC_MCODIV_1);
}

 /* MPU Configuration */

void MPU_Config(void)
{
  MPU_Region_InitTypeDef MPU_InitStruct = {0};

  /* Disables the MPU */
  HAL_MPU_Disable();

  /** Initializes and configures the Region and the memory to be protected
  */
  MPU_InitStruct.Enable = MPU_REGION_ENABLE;
  MPU_InitStruct.Number = MPU_REGION_NUMBER0;
  MPU_InitStruct.BaseAddress = 0x08000000;
  MPU_InitStruct.Size = MPU_REGION_SIZE_1MB;
  MPU_InitStruct.SubRegionDisable = 0x0;
  MPU_InitStruct.TypeExtField = MPU_TEX_LEVEL1;
  MPU_InitStruct.AccessPermission = MPU_REGION_PRIV_RO;
  MPU_InitStruct.DisableExec = MPU_INSTRUCTION_ACCESS_ENABLE;
  MPU_InitStruct.IsShareable = MPU_ACCESS_NOT_SHAREABLE;
  MPU_InitStruct.IsCacheable = MPU_ACCESS_CACHEABLE;
  MPU_InitStruct.IsBufferable = MPU_ACCESS_NOT_BUFFERABLE;

  HAL_MPU_ConfigRegion(&MPU_InitStruct);

  /** Initializes and configures the Region and the memory to be protected
  */
  MPU_InitStruct.Number = MPU_REGION_NUMBER1;
  MPU_InitStruct.BaseAddress = 0x20000000;
  MPU_InitStruct.Size = MPU_REGION_SIZE_128MB;
  MPU_InitStruct.SubRegionDisable = 0xEE;
  MPU_InitStruct.AccessPermission = MPU_REGION_FULL_ACCESS;
  MPU_InitStruct.IsCacheable = MPU_ACCESS_NOT_CACHEABLE;

  HAL_MPU_ConfigRegion(&MPU_InitStruct);

  /** Initializes and configures the Region and the memory to be protected
  */
  MPU_InitStruct.Number = MPU_REGION_NUMBER2;
  HAL_MPU_ConfigRegion(&MPU_InitStruct);

  /** Initializes and configures the Region and the memory to be protected
  */
  MPU_InitStruct.Number = MPU_REGION_NUMBER3;
  HAL_MPU_ConfigRegion(&MPU_InitStruct);

  /** Initializes and configures the Region and the memory to be protected
  */
  MPU_InitStruct.Number = MPU_REGION_NUMBER4;
  HAL_MPU_ConfigRegion(&MPU_InitStruct);
  /* Enables the MPU */
  HAL_MPU_Enable(MPU_PRIVILEGED_DEFAULT);

}

void HAL_TIM_PeriodElapsedCallback(TIM_HandleTypeDef *htim)
{
  if (htim->Instance == TIM23)
  {
    HAL_IncTick();
  }
  /* USER CODE BEGIN Callback 1 */
  else if (htim->Instance == TIM13) // 1000HZ
  {
    static uint8_t i;
    IMU_updata();
    if (i >= 5 )
    { // 降频至200hz
      STM32_to_MINIPC();
      i = 0;
    }
      i++;
  }
  /* USER CODE END Callback 1 */
}

void Error_Handler(void)
{
  __disable_irq();
  while (1)
  {
  }
}

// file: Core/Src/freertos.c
/* USER CODE BEGIN Header */
/**
 ******************************************************************************
 * File Name          : freertos.c
 * Description        : Code for freertos applications
 ******************************************************************************
 * @attention
 *
 * Copyright (c) 2024 STMicroelectronics.
 * All rights reserved.
 *
 * This software is licensed under terms that can be found in the LICENSE file
 * in the root directory of this software component.
 * If no LICENSE file comes with this software, it is provided AS-IS.
 *
 ******************************************************************************
 */
/* USER CODE END Header */

#include "FreeRTOS.h"
#include "task.h"
#include "main.h"
#include "cmsis_os.h"

/* USER CODE BEGIN Includes */
#include "remote_control.h"
#include "Chassis.h"
#include "Gimbal.h"
#include "Global_status.h"
#include "Auto_control.h"
#include "shoot.h"
#include "ui.h"
#include "music.h"

#include "referee_system.h"
#include "motor.h"
#include "supercup.h"
#include "LED.h"
#include <cmsis_os2.h>

#include "iwdg.h"
#include "buzzer.h"
/* USER CODE END Includes */

/* USER CODE BEGIN Variables */
uint32_t color = 0;
/* USER CODE END Variables */
/* Definitions for Remote_control */
osThreadId_t Remote_controlHandle;
const osThreadAttr_t Remote_control_attributes = {
  .name = "Remote_control",
  .stack_size = 512 * 4,
  .priority = (osPriority_t) osPriorityNormal,
};
/* Definitions for Gimbal */
osThreadId_t GimbalHandle;
const osThreadAttr_t Gimbal_attributes = {
  .name = "Gimbal",
  .stack_size = 512 * 4,
  .priority = (osPriority_t) osPriorityLow,
};
/* Definitions for Chassis */
osThreadId_t ChassisHandle;
const osThreadAttr_t Chassis_attributes = {
  .name = "Chassis",
  .stack_size = 512 * 4,
  .priority = (osPriority_t) osPriorityLow,
};
/* Definitions for Motor_control */
osThreadId_t Motor_controlHandle;
const osThreadAttr_t Motor_control_attributes = {
  .name = "Motor_control",
  .stack_size = 256 * 4,
  .priority = (osPriority_t) osPriorityLow,
};
/* Definitions for Shoot */
osThreadId_t ShootHandle;
const osThreadAttr_t Shoot_attributes = {
  .name = "Shoot",
  .stack_size = 256 * 4,
  .priority = (osPriority_t) osPriorityLow,
};
/* Definitions for Referee */
osThreadId_t RefereeHandle;
const osThreadAttr_t Referee_attributes = {
  .name = "Referee",
  .stack_size = 512 * 4,
  .priority = (osPriority_t) osPriorityLow,
};
/* Definitions for Log_and_debug */
osThreadId_t Log_and_debugHandle;
const osThreadAttr_t Log_and_debug_attributes = {
  .name = "Log_and_debug",
  .stack_size = 256 * 4,
  .priority = (osPriority_t) osPriorityLow,
};

void Remote_control_Task(void *argument);
void Gimbal_Task(void *argument);
void Chassis_Task(void *argument);
void Motor_control_Task(void *argument);
void Shoot_Task(void *argument);
void Referee_Task(void *argument);
void Log_and_debug_Task(void *argument);

extern void MX_USB_DEVICE_Init(void);
void MX_FREERTOS_Init(void); /* (MISRA C 2004 rule 8.1) */

/* Hook prototypes */
void vApplicationIdleHook(void);

/* USER CODE BEGIN 2 */
void vApplicationIdleHook(void)
{
  /* vApplicationIdleHook() will only be called if configUSE_IDLE_HOOK is set
  to 1 in FreeRTOSConfig.h. It will be called on each iteration of the idle
  task. It is essential that code added to this hook function never attempts
  to block in any way (for example, call xQueueReceive() with a block time
  specified, or call vTaskDelay()). If the application makes use of the
  vTaskDelete() API function (as this demo application does) then it is also
  important that vApplicationIdleHook() is permitted to return to its calling
  function, because it is the responsibility of the idle task to clean up
  memory allocated by the kernel to any task that has since been deleted. */
}
/* USER CODE END 2 */

void MX_FREERTOS_Init(void) {

  /* Create the thread(s) */
  /* creation of Remote_control */
  Remote_controlHandle = osThreadNew(Remote_control_Task, NULL, &Remote_control_attributes);

  /* creation of Gimbal */
  GimbalHandle = osThreadNew(Gimbal_Task, NULL, &Gimbal_attributes);

  /* creation of Chassis */
  ChassisHandle = osThreadNew(Chassis_Task, NULL, &Chassis_attributes);

  /* creation of Motor_control */
  Motor_controlHandle = osThreadNew(Motor_control_Task, NULL, &Motor_control_attributes);

  /* creation of Shoot */
  ShootHandle = osThreadNew(Shoot_Task, NULL, &Shoot_attributes);

  /* creation of Referee */
  RefereeHandle = osThreadNew(Referee_Task, NULL, &Referee_attributes);

  /* creation of Log_and_debug */
  Log_and_debugHandle = osThreadNew(Log_and_debug_Task, NULL, &Log_and_debug_attributes);

}

void Remote_control_Task(void *argument)
{
  /* init code for USB_DEVICE */
  MX_USB_DEVICE_Init();
  /* USER CODE BEGIN Remote_control_Task */
  /* Infinite loop */
  for (;;)
  {
    DT7toRCdata();
    RC_control();
    Keyboard_mouse_control();
    switch_servos();
    osDelay(1);
  }
  /* USER CODE END Remote_control_Task */
}

void Gimbal_Task(void *argument)
{
  /* USER CODE BEGIN Gimbal_Task */
  /* Infinite loop */
  for (;;)
  {
    //Gimbal_control();
    osDelay(1);
  }
  /* USER CODE END Gimbal_Task */
}

void Chassis_Task(void *argument)
{
  /* USER CODE BEGIN Chassis_Task */
  /* Infinite loop */
  for (;;)
  {
    Chassis_move();
    Supercup_send_data();
    osDelay(1);
  }
  /* USER CODE END Chassis_Task */
}

void Motor_control_Task(void *argument)
{
  /* USER CODE BEGIN Motor_control_Task */
  /* Infinite loop */
  for (;;)
  {
    if (Global.Control.mode != LOCK)
      DJIMotor_send_current();
    if (Global.Chssis.input.reset != 1)
      HAL_IWDG_Refresh(&hiwdg1);
    // fdcanx_send_data(&hfdcan1,0x200,can_data,8);
    osDelay(1);
  }
  /* USER CODE END Motor_control_Task */
}

void Shoot_Task(void *argument)
{
  /* USER CODE BEGIN Shoot_Task */
  /* Infinite loop */
  for (;;)
  {
    if (Global.Auto.mode != NONE && Global.Auto.input.Auto_control_online > 0)
      Auto_control();
    Shoot_task();
    osDelay(1);
  }
  /* USER CODE END Shoot_Task */
}

void Referee_Task(void *argument)
{
  /* USER CODE BEGIN Referee_Task */
  ui_init();
  /* Infinite loop */
  for (;;)
  {
    Referee_unpack_fifo_data(&referee_fifo, &referee_unpack_obj);
    ui_self_id = Referee_data.robot_id;
    Supercapui_change(cap.remain_vol);
    Shootui_change();
    Autoui_change();
    ui_updata();
    osDelay(1);
  }
  /* USER CODE END Referee_Task */
}

void Log_and_debug_Task(void *argument)
{
  /* USER CODE BEGIN Log_and_debug_Task */
  LEDshowcolor(RED);
  osDelay(500);
  LEDshowcolor(BLUE);
  osDelay(500);
  LEDshowcolor(GREEN);

  /* Infinite loop */
  for (;;)
  {
    // Music_play(melody);
    printf("hello\n");
    osDelay(500);
    LEDshowcolor(RED);
    osDelay(500);
    LEDshowcolor(BLUE);
    osDelay(500);
    LEDshowcolor(GREEN);

    osDelay(1);
  }
  /* USER CODE END Log_and_debug_Task */
}
